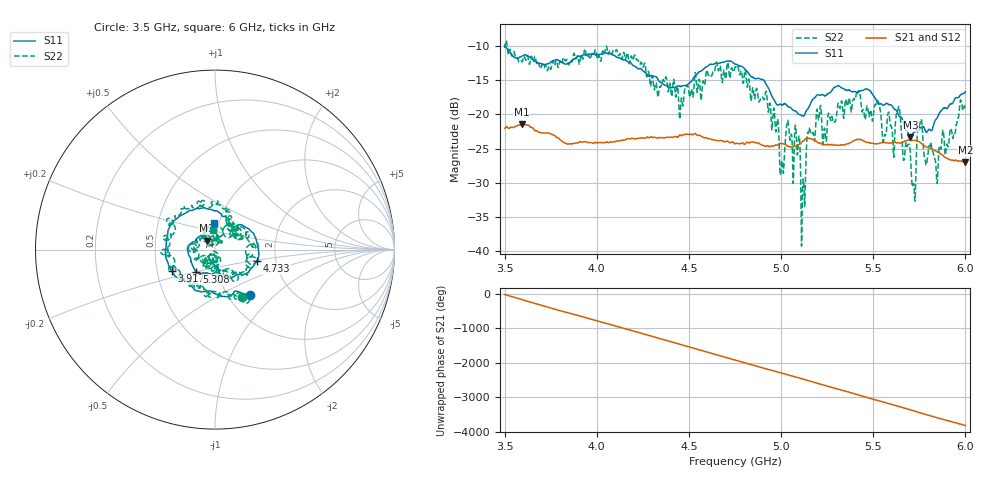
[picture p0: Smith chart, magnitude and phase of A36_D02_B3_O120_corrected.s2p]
! Created with skrf 1.9.0 (http://scikit-rf.org).
# Hz S RI R 50.0
!freq ReS11 ImS11 ReS21 ImS21 ReS12 ImS12 ReS22 ImS22
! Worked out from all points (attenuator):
!   1601 points, 3.5 GHz to 6 GHz, reference 50 ohm
!   highest |S21| = -21.44 dB at 3.592 GHz (marker M1); lowest = -27.0 dB at 6 GHz (marker M2)
!   lowest |S11| = -23.4 dB at 5.702 GHz (marker M3), VSWR 1.15, Z = 45.4 + j4.51 ohm
!   |S11| at or under -10 dB: 3.503 GHz to end of sweep
!   |S22| runs from -39.3 to -9.2 dB; largest |S21 - S12| = 0.00097
!   S11 on the Smith chart (normalised r, x): 3.5 GHz: 1.27, -0.71; 3.917 GHz: 0.60, -0.15; 4.733 GHz: 1.60, -0.21; 5.308 GHz: 0.79, -0.20; 6 GHz: 0.94, +0.28
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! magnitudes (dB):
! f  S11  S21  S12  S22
! 3.5 GHz  -9.9  -22.0  -22.0  -10.3
! 3.592 GHz  -11.5  -21.4  -21.4  -12.3
! 3.917 GHz  -11.4  -24.0  -24.0  -11.3
! 4.213 GHz  -13.1  -23.5  -23.5  -11.8
! 4.334 GHz  -15.0  -23.4  -23.4  -17.2
! 4.733 GHz  -12.3  -24.0  -24.0  -13.2
! 4.75 GHz  -12.6  -24.3  -24.2  -13.1
! 4.928 GHz  -16.0  -24.6  -24.6  -19.3
! 5.005 GHz  -18.6  -24.3  -24.3  -26.7
! 5.034 GHz  -18.8  -24.7  -24.5  -21.0
! 5.088 GHz  -19.8  -24.6  -24.6  -25.9
! 5.119 GHz  -20.3  -23.9  -23.9  -29.6
! 5.147 GHz  -19.1  -23.5  -23.5  -22.7
! 5.167 GHz  -18.0  -23.6  -23.6  -22.9
! 5.308 GHz  -15.8  -24.5  -24.4  -18.5
! 5.584 GHz  -18.6  -24.2  -24.2  -19.7
! 5.638 GHz  -20.1  -24.1  -24.1  -18.9
! 5.702 GHz  -23.4  -23.8  -23.8  -25.8
! 5.72 GHz  -22.6  -23.8  -23.7  -30.2
! 5.755 GHz  -22.0  -24.1  -24.0  -21.1
! 5.842 GHz  -20.7  -25.4  -25.3  -28.4
! 6 GHz  -16.7  -27.0  -26.9  -19.3
